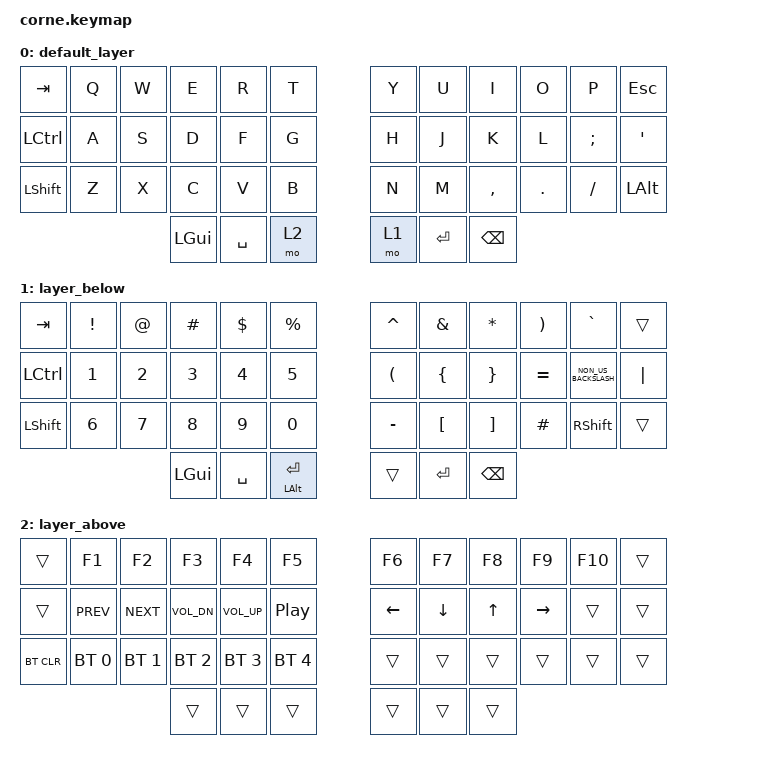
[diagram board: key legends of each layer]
/*
 * Copyright (c) 2020 The ZMK Contributors
 *
 * SPDX-License-Identifier: MIT
 */

#include <behaviors.dtsi>
#include <dt-bindings/zmk/bt.h>
#include <dt-bindings/zmk/keys.h>

/ {
    behaviors {
        tp: tap_preferred {
            compatible = "zmk,behavior-hold-tap";
            label = "TAP_PREFERRED";
            #binding-cells = <2>;
            tapping-term-ms = <150>;
            quick-tap-ms = <0>;
            flavor = "tap-preferred";
            bindings = <&kp>, <&kp>;
        };
    };

    keymap {
        compatible = "zmk,keymap";

        default_layer {
            // -----------------------------------------------------------------------------------------
            // | TAB  |  Q  |  W  |  E  |  R  |    T    |   |  Y  |  U   |  I  |  O  |  P  | ESC |
            // | CTRL |  A  |  S  |  D  |  F  |    G    |   |  H  |  J   |  K  |  L  |  ;  |  LWR/`   |
            // | SHFT |  Z  |  X  |  C  |  V  |    B    |   |  N  |  M   |  ,  |  .  |  /  | LALT |
            //                    | GUI | LWR | ALT/ENT |   | HYPER/SPC | BKSP  | RSE |

            bindings = <
&kp TAB    &kp Q  &kp W  &kp E     &kp R      &kp T    &kp Y  &kp U      &kp I          &kp O    &kp P     &kp ESC
&kp LCTRL  &kp A  &kp S  &kp D     &kp F      &kp G    &kp H  &kp J      &kp K          &kp L    &kp SEMI  &kp APOSTROPHE
&kp LSHFT  &kp Z  &kp X  &kp C     &kp V      &kp B    &kp N  &kp M      &kp COMMA      &kp DOT  &kp FSLH  &kp LEFT_ALT
                         &kp LGUI  &kp SPACE  &mo 2    &mo 1  &kp ENTER  &kp BACKSPACE
            >;
        };

        layer_below {
            // -----------------------------------------------------------------------------------------
            // |      |  !  |  @  |  #  |  $  |    %     |   |  ^  |  &  |  *  |  (  |  )  |   \   |
            // |      |  1  |  2  |  3  |  4  |    5     |   |  -  |  =  |  '  |  [  |  ]  |  "|"  |
            // | SHFT |  6  |  7  |  8  |  9  |    0     |   |  _  |  +  |  ~  |  {  |  }  | RSHFT |
            //                     | GUI |     | ALT/ENT |   | HYPER/SPACE | BKSP |    |

            bindings = <
&kp TAB           &kp EXCL  &kp AT  &kp HASH  &kp DLLR   &kp PRCNT       &kp CARET             &kp AMPERSAND     &kp ASTERISK       &kp RIGHT_PARENTHESIS  &kp GRAVE             &trans
&kp LEFT_CONTROL  &kp N1    &kp N2  &kp N3    &kp N4     &kp N5          &kp LEFT_PARENTHESIS  &kp LEFT_BRACE    &kp RIGHT_BRACE    &kp EQUAL              &kp NON_US_BACKSLASH  &kp PIPE
&kp LSHFT         &kp N6    &kp N7  &kp N8    &kp N9     &kp N0          &kp MINUS             &kp LEFT_BRACKET  &kp RIGHT_BRACKET  &kp HASH               &kp RSHFT             &trans
                                    &kp LGUI  &kp SPACE  &tp LALT RET    &trans                &kp ENTER         &kp BACKSPACE
            >;
        };

        layer_above {
            // -----------------------------------------------------------------------------------------
            // |       |  F1  |  F2  |  F3  |  F4  |  F5 |            |  F6  |  F7  |  F8  |  F9  |  F10  |   |
            // |       | Prev | Next | Vol - | Vol + | Play/Pause |   |      | LFT | DWN |  UP | RGT |  F11   |     |
            // | BTCLR | BT1 | BT2 | BT3 | BT4 | BT5 |   |            |     |     |     |     |     |   F12  |
            //                    |     |     |    |                  |     |     |     |

            bindings = <
&trans      &kp F1        &kp F2        &kp F3        &kp F4        &kp F5          &kp F6    &kp F7    &kp F8  &kp F9     &kp F10  &trans
&trans      &kp C_PREV    &kp C_NEXT    &kp C_VOL_DN  &kp C_VOL_UP  &kp C_PP        &kp LEFT  &kp DOWN  &kp UP  &kp RIGHT  &trans   &trans
&bt BT_CLR  &bt BT_SEL 0  &bt BT_SEL 1  &bt BT_SEL 2  &bt BT_SEL 3  &bt BT_SEL 4    &trans    &trans    &trans  &trans     &trans   &trans
                                        &trans        &trans        &trans          &trans    &trans    &trans
            >;
        };
    };
};
